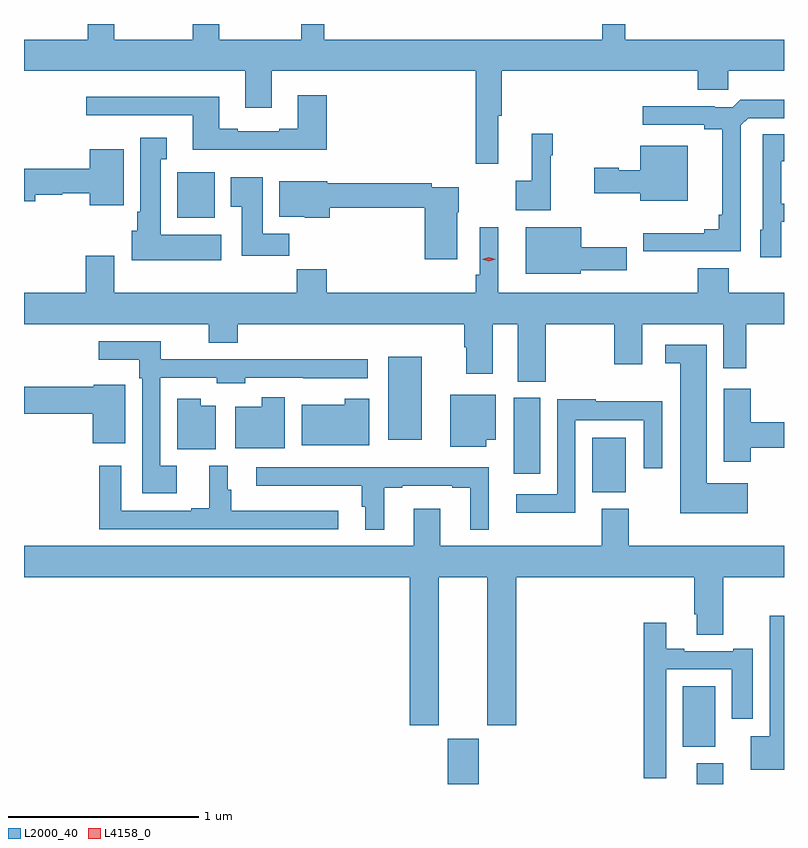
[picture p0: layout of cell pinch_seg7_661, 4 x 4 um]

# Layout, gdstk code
import gdstk
lib = gdstk.Library(unit=1e-6, precision=1e-09)
def R(c, l, rs):  # rectangles x0, y0, x1, y1
    for r in rs: c.add(gdstk.rectangle(r[:2], r[2:], *l))
def P(c, l, *ps):  # polygons
    for p in ps: c.add(gdstk.Polygon(p, *l))
L2000_40 = (2000, 40)
L4158_0 = (4158, 0)

pinch_seg7_661 = lib.new_cell('pinch_seg7_661')
R(pinch_seg7_661, L2000_40, [(311.972,1014.179,312.136,1014.417), (313.283,1014.179,313.423,1014.289), (313.211,1014.374,313.381,1014.694), (312.734,1015.715,312.91,1016.002), (312.32,1015.812,312.46,1016.211), (311.66,1015.991,311.836,1016.428), (310.55,1017.158,310.747,1017.4)])
P(pinch_seg7_661, L2000_40, [(310.771,1018.179),(310.631,1018.179),(310.631,1018.096),(310.219,1018.096),(310.219,1018.179),(310.079,1018.179),(310.079,1018.096),(309.743,1018.096),(309.743,1017.932),(310.907,1017.932),(310.907,1017.738),(311.047,1017.738),(311.047,1017.932),(312.121,1017.932),(312.121,1017.444),(312.239,1017.444),(312.239,1017.696),(312.257,1017.696),(312.257,1017.932),(313.289,1017.932),(313.289,1017.834),(313.449,1017.834),(313.449,1017.932),(313.743,1017.932),(313.743,1018.096),(312.908,1018.096),(312.908,1018.179),(312.787,1018.179),(312.787,1018.096),(311.323,1018.096),(311.323,1018.179),(311.201,1018.179),(311.201,1018.096),(310.771,1018.096)],
  [(311.336,1017.805),(311.183,1017.805),(311.183,1017.628),(311.087,1017.628),(311.087,1017.615),(310.867,1017.615),(310.867,1017.628),(310.771,1017.628),(310.771,1017.796),(310.071,1017.796),(310.071,1017.699),(310.631,1017.699),(310.631,1017.518),(311.336,1017.518)],
  [(313.515,1017.645),(313.554,1017.684),(313.743,1017.684),(313.743,1017.781),(313.513,1017.781),(313.473,1017.741),(313.379,1017.741),(313.379,1017.746),(312.999,1017.746),(312.999,1017.648),(313.322,1017.648),(313.322,1017.626),(313.418,1017.626),(313.418,1017.175),(313.399,1017.175),(313.399,1017.098),(313.322,1017.098),(313.322,1017.079),(313.001,1017.079),(313.001,1016.982),(313.515,1016.982)],
  [(312.516,1017.488),(312.526,1017.488),(312.526,1017.601),(312.416,1017.601),(312.416,1017.353),(312.33,1017.353),(312.33,1017.2),(312.516,1017.2)],
  [(313.728,1017.137),(313.743,1017.137),(313.743,1017.234),(313.728,1017.234),(313.728,1017.456),(313.743,1017.456),(313.743,1017.599),(313.632,1017.599),(313.632,1017.096),(313.619,1017.096),(313.619,1016.952),(313.728,1016.952)],
  [(310.78,1017.07),(310.462,1017.07),(310.462,1017.467),(310.495,1017.467),(310.495,1017.58),(310.355,1017.58),(310.355,1017.19),(310.34,1017.19),(310.34,1017.09),(310.31,1017.09),(310.31,1016.936),(310.78,1016.936)],
  [(313.237,1017.538),(312.986,1017.538),(312.986,1017.409),(312.873,1017.409),(312.873,1017.422),(312.744,1017.422),(312.744,1017.287),(312.986,1017.287),(312.986,1017.248),(313.237,1017.248)],
  [(310.267,1017.52),(310.088,1017.52),(310.088,1017.416),(309.743,1017.416),(309.743,1017.245),(309.802,1017.245),(309.802,1017.28),(309.945,1017.28),(309.945,1017.288),(310.088,1017.288),(310.088,1017.224),(310.267,1017.224)],
  [(311.138,1017.076),(310.999,1017.076),(310.999,1017.373),(310.832,1017.373),(310.832,1017.217),(310.889,1017.217),(310.889,1016.958),(311.138,1016.958)],
  [(312.022,1017.188),(312.03,1017.188),(312.03,1017.321),(311.888,1017.321),(311.888,1017.341),(311.338,1017.341),(311.338,1017.352),(311.087,1017.352),(311.087,1017.164),(311.22,1017.164),(311.22,1017.158),(311.351,1017.158),(311.351,1017.213),(311.852,1017.213),(311.852,1016.94),(312.022,1016.94)],
  [(312.489,1016.6),(312.85,1016.6),(312.85,1016.388),(312.997,1016.388),(312.997,1016.6),(313.424,1016.6),(313.424,1016.367),(313.543,1016.367),(313.543,1016.6),(313.743,1016.6),(313.743,1016.764),(313.453,1016.764),(313.453,1016.893),(313.289,1016.893),(313.289,1016.764),(312.238,1016.764),(312.238,1017.109),(312.141,1017.109),(312.141,1016.86),(312.121,1016.86),(312.121,1016.764),(311.336,1016.764),(311.336,1016.888),(311.179,1016.888),(311.179,1016.764),(310.219,1016.764),(310.219,1016.959),(310.067,1016.959),(310.067,1016.764),(309.743,1016.764),(309.743,1016.6),(310.715,1016.6),(310.715,1016.501),(310.868,1016.501),(310.868,1016.6),(312.059,1016.6),(312.059,1016.477),(312.071,1016.477),(312.071,1016.337),(312.211,1016.337),(312.211,1016.6),(312.341,1016.6),(312.341,1016.296),(312.489,1016.296)],
  [(312.672,1016.882),(312.916,1016.882),(312.916,1017.004),(312.676,1017.004),(312.676,1017.109),(312.383,1017.109),(312.383,1016.864),(312.672,1016.864)],
  [(310.546,1015.855),(310.461,1015.855),(310.461,1016.316),(310.758,1016.316),(310.758,1016.288),(310.908,1016.288),(310.908,1016.316),(311.212,1016.316),(311.212,1016.315),(311.551,1016.315),(311.551,1016.414),(310.464,1016.414),(310.464,1016.508),(310.137,1016.508),(310.137,1016.411),(310.349,1016.411),(310.349,1016.315),(310.365,1016.315),(310.365,1015.709),(310.546,1015.709)],
  [(313.552,1015.762),(313.336,1015.762),(313.336,1016.49),(313.119,1016.49),(313.119,1016.393),(313.196,1016.393),(313.196,1015.604),(313.552,1015.604)],
  [(310.276,1016.177),(310.275,1016.177),(310.275,1016.28),(310.11,1016.28),(310.11,1016.271),(309.743,1016.271),(309.743,1016.129),(310.106,1016.129),(310.106,1015.973),(310.276,1015.973)],
  [(313.569,1015.948),(313.743,1015.948),(313.743,1016.084),(313.569,1016.084),(313.569,1016.26),(313.427,1016.26),(313.427,1015.875),(313.569,1015.875)],
  [(312.175,1015.991),(312.226,1015.991),(312.226,1016.227),(311.987,1016.227),(311.987,1015.955),(312.175,1015.955)],
  [(311.116,1016.215),(310.994,1016.215),(310.994,1016.164),(310.856,1016.164),(310.856,1015.946),(311.116,1015.946)],
  [(311.56,1016.206),(311.431,1016.206),(311.431,1016.176),(311.204,1016.176),(311.204,1015.961),(311.56,1015.961)],
  [(310.753,1016.17),(310.672,1016.17),(310.672,1016.206),(310.55,1016.206),(310.55,1015.94),(310.753,1015.94)],
  [(312.645,1016.093),(313.005,1016.093),(313.005,1015.842),(313.101,1015.842),(313.101,1016.194),(312.752,1016.194),(312.752,1016.204),(312.549,1016.204),(312.549,1015.704),(312.333,1015.704),(312.333,1015.607),(312.645,1015.607)],
  [(311.398,1015.618),(310.835,1015.618),(310.835,1015.728),(310.816,1015.728),(310.816,1015.855),(310.718,1015.855),(310.718,1015.63),(310.622,1015.63),(310.622,1015.617),(310.254,1015.617),(310.254,1015.855),(310.138,1015.855),(310.138,1015.521),(311.398,1015.521)],
  [(311.638,1015.737),(311.734,1015.737),(311.734,1015.749),(311.996,1015.749),(311.996,1015.737),(312.092,1015.737),(312.092,1015.517),(312.19,1015.517),(312.19,1015.845),(311.932,1015.845),(311.932,1015.846),(311.664,1015.846),(311.664,1015.845),(310.965,1015.845),(310.965,1015.748),(311.521,1015.748),(311.521,1015.638),(311.54,1015.638),(311.54,1015.517),(311.638,1015.517)],
  [(311.926,1015.268),(312.182,1015.268),(312.182,1014.489),(312.335,1014.489),(312.335,1015.268),(313.271,1015.268),(313.271,1015.072),(313.283,1015.072),(313.283,1014.964),(313.423,1014.964),(313.423,1015.268),(313.743,1015.268),(313.743,1015.432),(312.925,1015.432),(312.925,1015.627),(312.785,1015.627),(312.785,1015.432),(311.935,1015.432),(311.935,1015.627),(311.795,1015.627),(311.795,1015.432),(309.743,1015.432),(309.743,1015.268),(311.774,1015.268),(311.774,1014.489),(311.926,1014.489)],
  [(313.743,1015.064),(313.668,1015.064),(313.668,1014.43),(313.568,1014.43),(313.568,1014.254),(313.743,1014.254)],
  [(313.122,1014.783),(313.469,1014.783),(313.469,1014.522),(313.579,1014.522),(313.579,1014.892),(313.475,1014.892),(313.475,1014.879),(313.219,1014.879),(313.219,1014.892),(313.123,1014.892),(313.123,1015.027),(313.006,1015.027),(313.006,1014.21),(313.122,1014.21)])
P(pinch_seg7_661, L4158_0, [(312.189,1016.931),(312.154,1016.941),(312.154,1016.941),(312.154,1016.941),(312.189,1016.951),(312.225,1016.941),(312.225,1016.941),(312.225,1016.941)])

lib.write_gds('pinch_seg7_661.gds')
